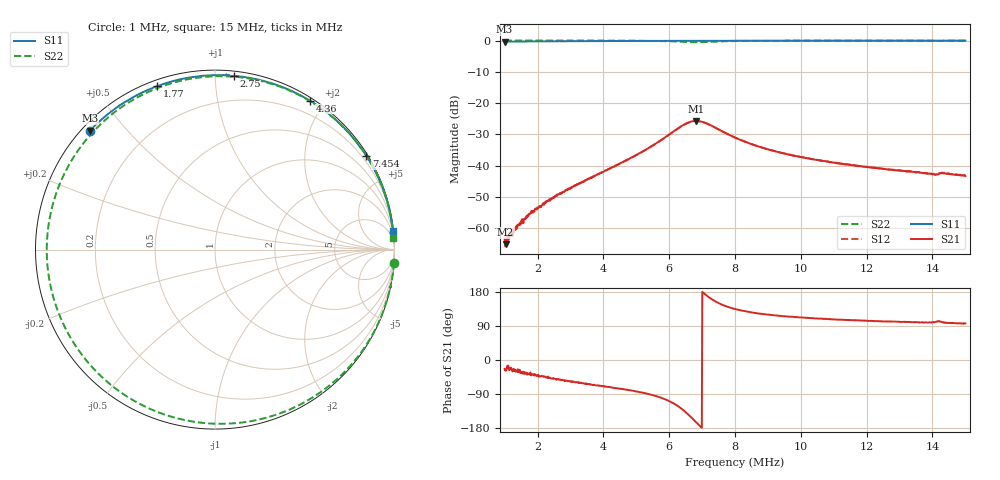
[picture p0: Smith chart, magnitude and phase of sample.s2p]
!  2/6/2023  2:23:51 PM
! Ref Plane: 0.000 mm
# MHZ S MA R  50
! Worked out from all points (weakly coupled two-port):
!   1001 points, 1 MHz to 15 MHz, reference 50 ohm
!   highest |S21| = -25.69 dB at 6.81 MHz (marker M1); lowest = -65.1 dB at 1.028 MHz (marker M2)
!   lowest |S11| = -0.3 dB at 1 MHz (marker M3), VSWR 51.11, Z = 1.13 + j19.9 ohm
!   |S11| at or under -10 dB: nowhere
!   |S22| runs from -0.6 to 0.0 dB; largest |S21 - S12| = 0.00056
!   S11 on the Smith chart (normalised r, x): 1 MHz: 0.02, +0.40; 1.77 MHz: 0.03, +0.71; 2.75 MHz: 0.03, +1.11; 4.36 MHz: 0.03, +1.82; 7.454 MHz: 0.05, +3.52; 15 MHz: 1, +19
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1  0.9616 136.5  0.0006777 -23.6  0.0005336 -25.7  1 -4.1
1.028  0.9617 135.4  0.0005543 -25.4  0.0005642 -20.3  1.001 -4.2
1.77  0.966 109.5  0.001684 -38.5  0.00162 -38.5  1 -7.5
2.75  0.9723 83.9  0.003665 -51.9  0.00371 -53.8  0.9979 -12.5
3.338  0.9783 72.6  0.005389 -60.5  0.005324 -61.0  0.9986 -16.5
4.36  0.9841 57.5  0.00994 -74.0  0.009845 -74.3  0.9973 -26.6
5.144  0.9871 48.9  0.01628 -85.5  0.0161 -86.0  0.9933 -41.0
5.676  0.9887 44.0  0.02402 -97.4  0.02376 -97.8  0.9859 -59.5
6.012  0.9893 41.2  0.03176 -108.9  0.03157 -109.4  0.9759 -79.5
6.334  0.9896 38.8  0.04148 -125.8  0.04123 -126.0  0.9592 -110.4
6.558  0.9899 37.3  0.04827 -141.9  0.04783 -142.1  0.9453 -141.4
6.81  0.9901 35.6  0.05191 -163.6  0.05154 -163.4  0.9374 176.1
6.95  0.9904 34.7  0.05099 -175.6  0.05065 -175.4  0.9399 152.5
7.118  0.9909 33.7  0.04768 171.5  0.04764 171.8  0.9476 127.1
7.272  0.9914 32.8  0.04378 161.7  0.04377 161.9  0.9564 107.9
7.454  0.9918 31.7  0.0391 152.3  0.03897 152.7  0.9656 90.0
7.706  0.9924 30.3  0.03325 142.5  0.03316 142.7  0.9754 71.9
8  0.9929 28.8  0.02804 134.6  0.02808 134.7  0.9828 57.5
8.84  0.9942 24.8  0.0193 121.3  0.01923 121.5  0.9917 35.4
10.338  0.9954 18.9  0.01274 110.7  0.01273 110.4  0.9956 19.6
12.676  0.9965 11.7  0.008592 101.6  0.008672 102.5  0.9959 9.3
15  0.997 6.0  0.006781 96.6  0.006968 96.2  0.9958 3.8
